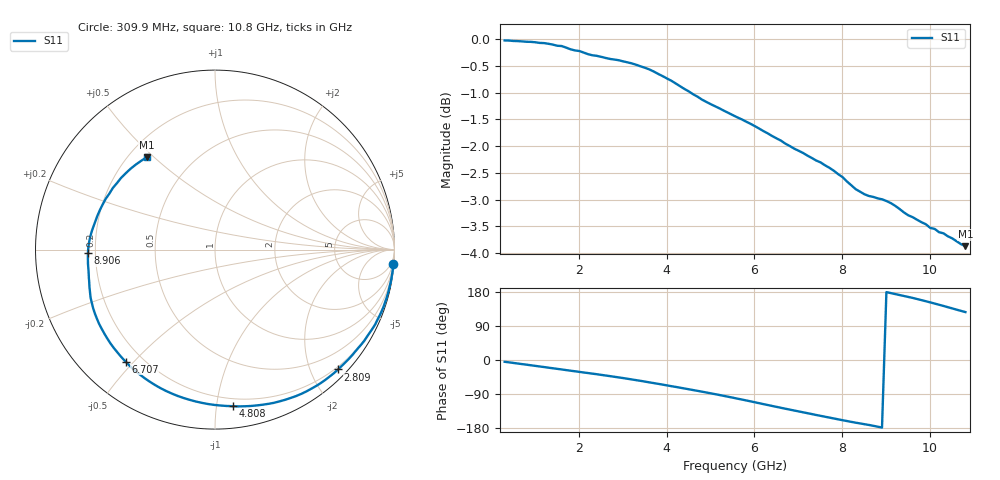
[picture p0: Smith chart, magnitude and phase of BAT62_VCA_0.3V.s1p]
! Infineon Technologies  Discrete & RF Semiconductors
! BAT62
! VCA = 0.3 V
! One-Port S-Parameters
# Hz  S  MA  R  50
!f  S11
!Hz  Mag  Ang
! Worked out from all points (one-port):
!   106 points, 309.9 MHz to 10.8 GHz, reference 50 ohm
!   lowest |S11| = -3.9 dB at 10.8 GHz (marker M1), VSWR 4.56, Z = 13.6 + j23.7 ohm
!   |S11| at or under -10 dB: nowhere
!   S11 on the Smith chart (normalised r, x): 309.9 MHz: 1, -24; 2.809 GHz: 0.15, -2.45; 4.808 GHz: 0.15, -1.11; 6.707 GHz: 0.14, -0.47; 8.906 GHz: 0.17, -0.01; 10.8 GHz: 0.27, +0.47
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3.0985e8  0.9972 -4.7
1.0095e9  0.9933 -15.5
1.70915e9  0.982 -26.6
2.4088e9  0.9648 -37.5
2.8086e9  0.9571 -44.2
3.0085e9  0.9534 -47.7
3.4083e9  0.9432 -55.0
3.70815e9  0.9327 -61.0
4.10795e9  0.9144 -69.1
4.30785e9  0.9036 -73.1
4.8076e9  0.8779 -83.6
5.2074e9  0.8615 -92.4
5.6072e9  0.8452 -101.8
6.10695e9  0.825 -114.0
6.4068e9  0.8117 -121.4
6.70665e9  0.7985 -128.6
6.90655e9  0.79 -133.3
7.2064e9  0.7783 -140.3
7.6062e9  0.7622 -149.7
8.006e9  0.7431 -158.9
8.2059e9  0.7302 -163.3
8.90555e9  0.7085 -178.4
9.2054e9  0.6986 174.0
9.50525e9  0.6844 166.3
9.8051e9  0.6743 158.0
1.010495e10  0.6647 148.9
1.04048e10  0.6543 139.4
1.08046e10  0.6404 126.4
